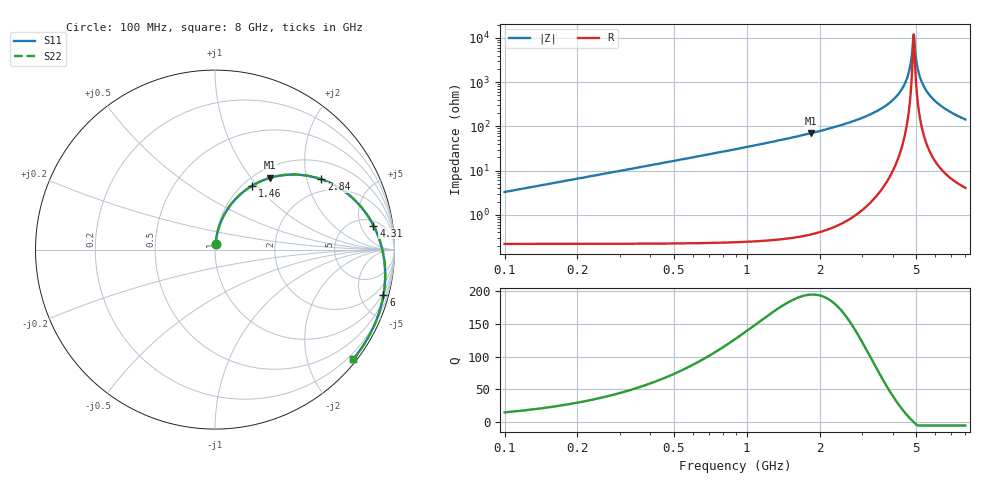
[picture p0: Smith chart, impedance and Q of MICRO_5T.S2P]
! Coilcraft 0906-5 Micro Spring Air Core Inductor
! 16 May 2003
# MHZ S MA R 50
!Freq  MagS11  AngS11  MagS21  AngS21  MagS12  AngS12  MagS22  AngS22
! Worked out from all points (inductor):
!   791 points, 100 MHz to 8 GHz, reference 50 ohm
!   read as 1/Y11, port 2 shorted: L = 5.23 nH near 130 MHz
!   highest Q = 194 at 1.84 GHz (marker M1), where L = 6.06 nH
!   self-resonance near 4.89 GHz
!   S11 on the Smith chart (normalised r, x): 100 MHz: 1.00, +0.06; 1.46 GHz: 1.10, +0.94; 2.84 GHz: 1.55, +2.45; 4.31 GHz: 6, +8; 6 GHz: 0.80, -7.41; 8 GHz: 0.08, -2.87
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100  0.02956 83.7  0.9974 -2.1  0.9974 -2.1  0.02959 83.7
190  0.05602 83.8  0.9962 -3.9  0.9962 -3.9  0.05607 83.8
270  0.07951 82.8  0.9946 -5.6  0.9946 -5.6  0.07958 82.8
380  0.1117 81.0  0.9915 -7.8  0.9915 -7.8  0.1118 81.0
520  0.1524 78.5  0.9861 -10.7  0.9861 -10.7  0.1526 78.5
900  0.2608 71.0  0.9632 -18.5  0.9632 -18.5  0.261 71.0
1420  0.4011 60.7  0.9137 -29.0  0.9137 -29.0  0.4014 60.7
1460  0.4114 59.9  0.9091 -29.8  0.9091 -29.8  0.4118 59.9
1840  0.505 52.4  0.8605 -37.3  0.8605 -37.3  0.5055 52.4
2280  0.603 43.9  0.7946 -45.8  0.7946 -45.8  0.6036 43.9
2740  0.6921 35.3  0.7176 -54.4  0.7176 -54.4  0.6928 35.3
2840  0.7096 33.5  0.7001 -56.2  0.7001 -56.2  0.7103 33.5
3400  0.7954 23.6  0.5994 -66.0  0.5994 -66.0  0.7961 23.6
4050  0.87 12.7  0.4818 -76.6  0.4818 -76.6  0.8708 12.7
4310  0.893 8.6  0.436 -80.5  0.436 -80.5  0.8938 8.6
5370  0.9544 -6.9  0.2653 -94.9  0.2653 -94.9  0.9552 -6.9
6000  0.9721 -15.2  0.1796 -101.7  0.1796 -101.7  0.973 -15.2
6690  0.9813 -23.7  0.1011 -106.3  0.1011 -106.3  0.9821 -23.7
7250  0.9836 -30.2  0.05009 -103.3  0.05009 -103.3  0.9844 -30.2
7800  0.9832 -36.3  0.01732 -58.8  0.01732 -58.8  0.9839 -36.3
7890  0.9829 -37.2  0.01624 -40.2  0.01624 -40.2  0.9837 -37.2
8000  0.9826 -38.4  0.01752 -18.7  0.01752 -18.7  0.9834 -38.4
